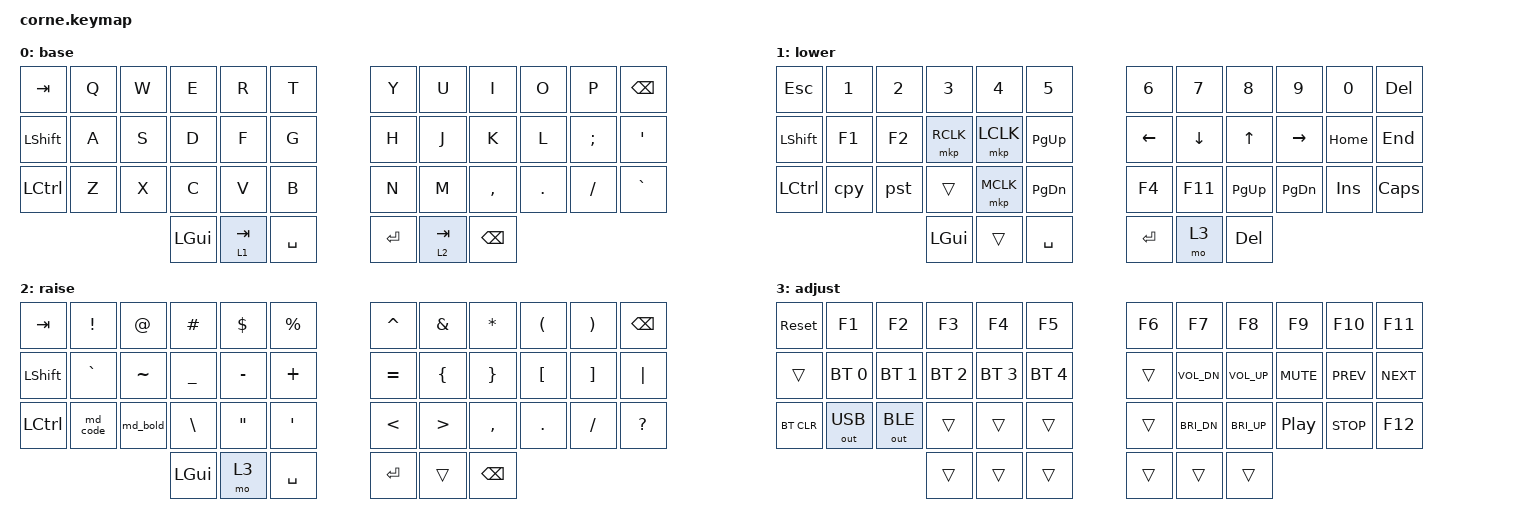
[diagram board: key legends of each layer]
/*
 * Copyright (c) 2020 The ZMK Contributors
 *
 * SPDX-License-Identifier: MIT
 *
 * Раскладка: MrKairos, редакция под Windows
 * Профиль использования:
 *   - Русский + английский набор (ЙЦУКЕН символы сохранены на base)
 *   - Код: TypeScript, C#, GDScript
 *   - Markdown
 *   - Google Sheets (F4 для $-фиксации)
 *
 * Layout большой пальцев: LGUI | LT1 TAB | SPACE || ENTER | LT2 TAB | BSPC
 */

#define ZMK_POINTING_DEFAULT_MOVE_VAL 1500  // default: 600
#define ZMK_POINTING_DEFAULT_SCRL_VAL 20    // default: 10

#include <behaviors.dtsi>
#include <dt-bindings/zmk/keys.h>
#include <dt-bindings/zmk/pointing.h>
#include <dt-bindings/zmk/bt.h>
#include <dt-bindings/zmk/outputs.h>

// Номера слоёв - для читаемости
#define BASE 0
#define LOWER 1
#define RAISE 2
#define ADJUST 3

/ {
    combos {
        compatible = "zmk,combos";

        // J+K = Caps Word (следующее слово КАПСОМ, авто-выкл на пробеле)
        // Удобно для CONSTANTS_LIKE_THIS в C# / GDScript
        combo_caps_word {
            bindings = <&caps_word>;
            key-positions = <19 20>;
            timeout-ms = <50>;
            layers = <BASE>;
        };

        // Одновременное удержание обоих LT-клавиш = слой ADJUST (функции, BT, медиа)
        // Позиции 37 (LT1 TAB) + 40 (LT2 TAB) - оба больших пальца
        combo_adjust {
            bindings = <&mo ADJUST>;
            key-positions = <37 40>;
            timeout-ms = <50>;
        };
    };

    macros {
        // Ctrl+C - исправленная версия (модификатор держится пока жмётся буква)
        cpy: cpy {
            compatible = "zmk,behavior-macro";
            #binding-cells = <0>;
            bindings
                = <&macro_press &kp LCTRL>
                , <&macro_tap &kp C>
                , <&macro_release &kp LCTRL>;
            label = "CPY";
        };

        // Ctrl+V
        pst: pst {
            compatible = "zmk,behavior-macro";
            #binding-cells = <0>;
            bindings
                = <&macro_press &kp LCTRL>
                , <&macro_tap &kp V>
                , <&macro_release &kp LCTRL>;
            label = "PST";
        };

        // Markdown: тройной backtick для блока кода ```
        md_code: md_code {
            compatible = "zmk,behavior-macro";
            #binding-cells = <0>;
            bindings = <&kp GRAVE &kp GRAVE &kp GRAVE>;
            label = "MD_CODE";
        };

        // Markdown: ** ** для жирного, курсор остаётся между звёздочками
        md_bold: md_bold {
            compatible = "zmk,behavior-macro";
            #binding-cells = <0>;
            bindings
                = <&kp KP_MULTIPLY &kp KP_MULTIPLY &kp KP_MULTIPLY &kp KP_MULTIPLY &kp LEFT &kp LEFT>;
            label = "MD_BOLD";
        };
    };

    keymap {
        compatible = "zmk,keymap";

        // ──────────────────────────────────────────────────────────────
        // BASE - QWERTY, стандартная русская ЙЦУКЕН совместимость
        // ──────────────────────────────────────────────────────────────
        //  TAB  |  Q  |  W  |  E  |  R  |  T  |   |  Y  |  U  |  I  |  O  |  P  | BSPC |
        //  SHFT |  A  |  S  |  D  |  F  |  G  |   |  H  |  J  |  K  |  L  |  ;  |  '   |
        //  CTRL |  Z  |  X  |  C  |  V  |  B  |   |  N  |  M  |  ,  |  .  |  /  |  `   |
        //              | GUI | L1  | SPC |   | ENT | L2  | BSPC |
        //
        // Ключевые изменения vs ваш оригинал:
        //   * правый верхний угол: DELETE -> BSPC (Delete доступен на слое 1)
        //   * символы [  ]  ;  '  ,  .  /  `  сохранены на физических позициях,
        //     чтобы русская раскладка работала нормально (х, ъ, ж, э, б, ю, ё)
        // ──────────────────────────────────────────────────────────────
        base {
            bindings = <
&kp TAB    &kp Q  &kp W  &kp E     &kp R      &kp T        &kp Y      &kp U          &kp I         &kp O    &kp P     &kp BSPC
&kp LSHFT  &kp A  &kp S  &kp D     &kp F      &kp G        &kp H      &kp J          &kp K         &kp L    &kp SEMI  &kp APOS
&kp LCTRL  &kp Z  &kp X  &kp C     &kp V      &kp B        &kp N      &kp M          &kp COMMA     &kp DOT  &kp FSLH  &kp GRAVE
                         &kp LGUI  &lt 1 TAB  &kp SPACE    &kp ENTER  &lt 2 TAB      &kp BSPC
            >;
        };

        // ──────────────────────────────────────────────────────────────
        // LOWER (слой 1) - цифры, навигация, функции для Sheets
        // ──────────────────────────────────────────────────────────────
        //  ESC  |  1  |  2  |  3  |  4  |  5  |   |  6  |  7  |  8  |  9  |  0  | DEL  |
        //  SHFT |F1-F5 group  | RCL | LCL |PG_UP|   |LEFT |DOWN | UP  |RGHT |HOME | END  |
        //  CTRL | CPY | PST |     |MCLK |PG_DN|   | F4  | F11 |PG_UP|PG_DN| INS |CAPS  |
        //              | GUI |     | SPC |   | ENT | L2  | BSPC |
        //
        // F4 - критичная клавиша для Google Sheets ($-фиксация ссылок)
        // CPY/PST - ваши макросы Ctrl+C / Ctrl+V (исправленные)
        // ──────────────────────────────────────────────────────────────
        lower {
            bindings = <
&kp ESC    &kp N1  &kp N2  &kp N3     &kp N4     &kp N5          &kp N6     &kp N7     &kp N8    &kp N9    &kp N0    &kp DEL
&kp LSHFT  &kp F1  &kp F2  &mkp RCLK  &mkp LCLK  &kp PG_UP       &kp LEFT   &kp DOWN   &kp UP    &kp RIGHT &kp HOME  &kp END
&kp LCTRL  &cpy    &pst    &trans     &mkp MCLK  &kp PG_DN       &kp F4     &kp F11    &kp PG_UP &kp PG_DN &kp INS   &kp CAPS
                           &kp LGUI   &trans     &kp SPACE       &kp ENTER  &mo 3      &kp DEL
            >;
        };

        // ──────────────────────────────────────────────────────────────
        // RAISE (слой 2) - символы: Markdown + код + Sheets
        // ──────────────────────────────────────────────────────────────
        //  TAB  |  !  |  @  |  #  |  $  |  %  |   |  ^  |  &  |  *  |  (  |  )  | BSPC |
        //  SHFT |  `  |  ~  |  _  |  -  |  +  |   |  =  |  {  |  }  |  [  |  ]  |  |   |
        //  CTRL | TAB3|MDCOD|MDBLD|  \  | "   |   |  <  |  >  |  ,  |  .  |  /  |  ?   |
        //              | GUI | L1  | SPC |   | ENT |     | BSPC |
        //
        // Логика расположения:
        //   - шифт-символы верхнего ряда 1-0 в том же порядке (! @ # $ % ^ & * ( ))
        //   - ВСЕ скобки (){}[] в правой половине, пары рядом
        //   - = < > группой для операторов и =>  <=  >=
        //   - # * _ ~ для Markdown выделения
        //   - $ для Sheets, | для Markdown таблиц
        //   - MDCOD = тройной ``` для блока кода
        //   - MDBLD = **|** с курсором между звёздочек
        // ──────────────────────────────────────────────────────────────
        raise {
            bindings = <
&kp TAB    &kp EXCL   &kp AT    &kp HASH    &kp DLLR   &kp PRCNT     &kp CARET  &kp AMPS   &kp ASTRK  &kp LPAR  &kp RPAR  &kp BSPC
&kp LSHFT  &kp GRAVE  &kp TILDE &kp UNDER   &kp MINUS  &kp PLUS      &kp EQUAL  &kp LBRC   &kp RBRC   &kp LBKT  &kp RBKT  &kp PIPE
&kp LCTRL  &md_code   &md_bold  &kp BSLH    &kp DQT    &kp SQT       &kp LT     &kp GT     &kp COMMA  &kp DOT   &kp FSLH  &kp QMARK
                                &kp LGUI    &mo 3      &kp SPACE     &kp ENTER  &trans     &kp BSPC
            >;
        };

        // ──────────────────────────────────────────────────────────────
        // ADJUST (слой 3) - редко: F-ряд, Bluetooth, медиа, управление
        // ──────────────────────────────────────────────────────────────
        // Вызывается комбо "оба больших пальца одновременно"
        // или удержанием L1+L2 через &mo 3 на соседнем слое
        //
        //  RST  | F1  | F2  | F3  | F4  | F5  |   | F6  | F7  | F8  | F9  | F10 | F11  |
        //       | BT1 | BT2 | BT3 | BT4 | BT5 |   |     |VOL- |VOL+ |MUTE |PREV |NEXT  |
        // BTCLR|USBOUT|BTOUT|     |     |     |   |     |BRDN |BRUP |PLAY |STOP | F12  |
        //              |     |     |     |   |     |     |      |
        // ──────────────────────────────────────────────────────────────
        adjust {
            bindings = <
&sys_reset    &kp F1        &kp F2        &kp F3        &kp F4        &kp F5              &kp F6    &kp F7        &kp F8           &kp F9        &kp F10           &kp F11
&trans        &bt BT_SEL 0  &bt BT_SEL 1  &bt BT_SEL 2  &bt BT_SEL 3  &bt BT_SEL 4        &trans    &kp C_VOL_DN  &kp C_VOL_UP     &kp C_MUTE    &kp C_PREV        &kp C_NEXT
&bt BT_CLR    &out OUT_USB  &out OUT_BLE  &trans        &trans        &trans              &trans    &kp C_BRI_DN  &kp C_BRI_UP     &kp C_PP      &kp C_STOP        &kp F12
                                          &trans        &trans        &trans              &trans    &trans        &trans
            >;
        };
    };
};
